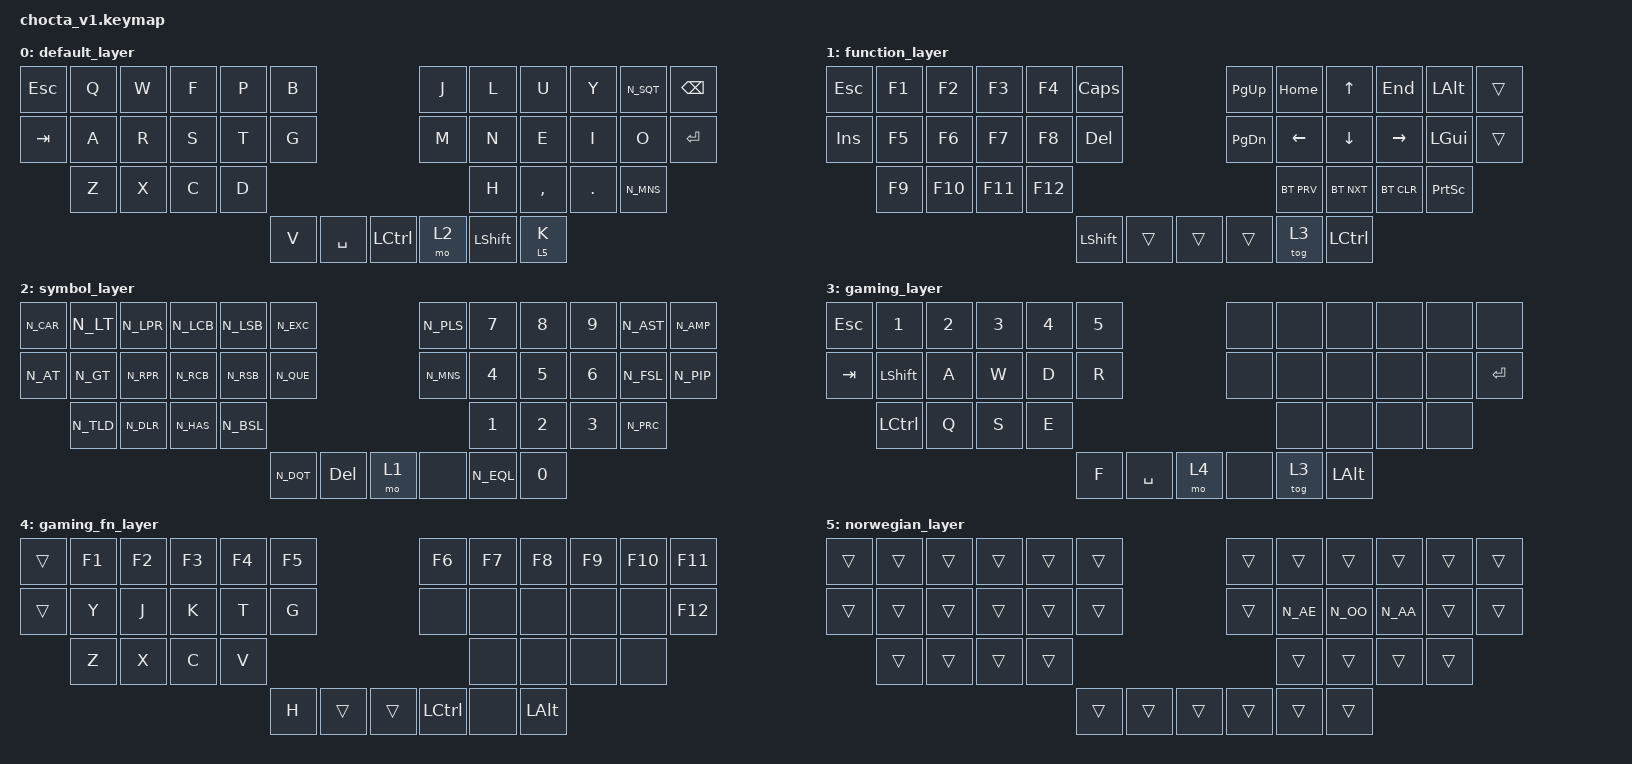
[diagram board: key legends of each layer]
/*
 * Copyright (c) 2020 The ZMK Contributors
 *
 * SPDX-License-Identifier: MIT
 */

#include <behaviors.dtsi>
#include <dt-bindings/zmk/keys.h>
#include <dt-bindings/zmk/bt.h>
#include "keymap_norwegian.h"

/ {
        keymap {
                compatible = "zmk,keymap";

                default_layer {
                        bindings = <
// ┌─────────┬─────────┬─────────┬─────────┬─────────┬─────────┐                                             ┌─────────┬─────────┬─────────┬─────────┬─────────┬─────────┐ 0
// │  ESCAPE │  Q      │  W      │  F      │  P      │  B      │                                             │  J      │  L      │  U      │  Y      │  '      │BACKSPACE│
    &kp ESC   &kp Q     &kp W     &kp F     &kp P     &kp B                                                   &kp J     &kp L     &kp U     &kp Y     &kp N_SQT &kp BSPC
// ├─────────┼─────────┼─────────┼─────────┼─────────┼─────────┤                                             ├─────────┼─────────┼─────────┼─────────┼─────────┼─────────┤
// │  TAB    │  A      │  R      │  S      │  T      │  G      │                                             │  M      │  N      │  E      │  I      │  O      │  ENTER  │
    &kp TAB   &kp A     &kp R     &kp S     &kp T     &kp G                                                   &kp M     &kp N     &kp E     &kp I     &kp O     &kp RET
// └─────────┼─────────┼─────────┼─────────┼─────────┼─────────┘                                             └─────────┼─────────┼─────────┼─────────┼─────────┼─────────┘
//           │  Z      │  X      │  C      │  D      │                                                                 │  H      │  ,      │  .      │  -      │
              &kp Z     &kp X     &kp C     &kp D                                                                       &kp H     &kp COMMA &kp DOT   &kp N_MNS
//           └─────────┴─────────┴─────────┴─────────┘┌─────────┬─────────┬─────────┐   ┌─────────┬─────────┬─────────┐└─────────┴─────────┴─────────┴─────────┘
//                                                    │  V      │  SPACE  │  CTRL   │   │  SYMBOL │  SHIFT  │  K      │
                                                       &kp V     &kp SPACE &kp LCTRL     &mo 2     &kp LSHFT &lt 5 K
//                                                    └─────────┴─────────┴─────────┘   └─────────┴─────────┴─────────┘
                        >;
                };
				
                function_layer {
                        bindings = <
// ┌─────────┬─────────┬─────────┬─────────┬─────────┬─────────┐                                             ┌─────────┬─────────┬─────────┬─────────┬─────────┬─────────┐ 1
// │  ESCAPE │  F1     │  F2     │  F3     │  F4     │  CAPS   │                                             │ PAGE UP │  HOME   │  ↑      │  END    │  ALT    │         │
    &kp ESC   &kp F1    &kp F2    &kp F3    &kp F4    &kp CAPS                                                &kp PG_UP &kp HOME  &kp UP    &kp END   &kp LALT  &trans
// ├─────────┼─────────┼─────────┼─────────┼─────────┼─────────┤                                             ├─────────┼─────────┼─────────┼─────────┼─────────┼─────────┤
// │  INSERT │  F5     │  F6     │  F7     │  F8     │  DELETE │                                             │PAGE DOWN│  ←      │  ↓      │  →      │  GUI    │         │
    &kp INS   &kp F5    &kp F6    &kp F7    &kp F8    &kp DEL                                                 &kp PG_DN &kp LEFT  &kp DOWN  &kp RIGHT &kp LGUI  &trans
// └─────────┼─────────┼─────────┼─────────┼─────────┼─────────┘                                             └─────────┼─────────┼─────────┼─────────┼─────────┼─────────┘
//           │  F9     │  F10    │  F11    │  F12    │                                                                 │         │         │         │PRINTSCRN│
              &kp F9    &kp F10   &kp F11   &kp F12                                                                    &bt BT_PRV &bt BT_NXT &bt BT_CLR &kp PSCRN
//           └─────────┴─────────┴─────────┴─────────┘┌─────────┬─────────┬─────────┐   ┌─────────┬─────────┬─────────┐└─────────┴─────────┴─────────┴─────────┘
//                                                    │  SHIFT  │         │         │   │         │  GAME   │  CTRL   │
                                                       &kp LSHFT &trans    &trans        &trans    &tog 3    &kp LCTRL
//                                                    └─────────┴─────────┴─────────┘   └─────────┴─────────┴─────────┘
                        >;
                };
				
				symbol_layer {
                        bindings = <
// ┌─────────┬─────────┬─────────┬─────────┬─────────┬─────────┐                                             ┌─────────┬─────────┬─────────┬─────────┬─────────┬─────────┐ 2
// │  ^      │  <      │  (      │  {      │  [      │  !      │                                             │  +      │  7      │  8      │  9      │  *      │  &      │
    &kp N_CAR &kp N_LT  &kp N_LPR &kp N_LCB &kp N_LSB &kp N_EXC                                               &kp N_PLS &kp N7    &kp N8    &kp N9    &kp N_AST &kp N_AMP
// ├─────────┼─────────┼─────────┼─────────┼─────────┼─────────┤                                             ├─────────┼─────────┼─────────┼─────────┼─────────┼─────────┤
// │  @      │  >      │  )      │  }      │  ]      │  ?      │                                             │  -      │  4      │  5      │  6      │  /      │  |      │
    &kp N_AT  &kp N_GT  &kp N_RPR &kp N_RCB &kp N_RSB &kp N_QUE                                               &kp N_MNS &kp N4    &kp N5    &kp N6    &kp N_FSL &kp N_PIP
// └─────────┼─────────┼─────────┼─────────┼─────────┼─────────┘                                             └─────────┼─────────┼─────────┼─────────┼─────────┼─────────┘
//           │  ~      │  $      │  #      │BACKSLASH│                                                                 │  1      │  2      │  3      │  %      │
              &kp N_TLD &kp N_DLR &kp N_HAS &kp N_BSL                                                                   &kp N1    &kp N2    &kp N3    &kp N_PRC
//           └─────────┴─────────┴─────────┴─────────┘┌─────────┬─────────┬─────────┐   ┌─────────┬─────────┬─────────┐└─────────┴─────────┴─────────┴─────────┘
//                                                    │  "      │  DELETE │   FUNC  │   │         │  =      │  0      │
                                                       &kp N_DQT &kp DEL   &mo 1         &none     &kp N_EQL &kp N0
//                                                    └─────────┴─────────┴─────────┘   └─────────┴─────────┴─────────┘
                        >;
                };
				
				gaming_layer {
                        bindings = <
// ┌─────────┬─────────┬─────────┬─────────┬─────────┬─────────┐                                             ┌─────────┬─────────┬─────────┬─────────┬─────────┬─────────┐ 3
// │  ESC    │  1      │  2      │  3      │  4      │  5      │                                             │         │         │         │         │         │         │
    &kp ESC   &kp N1    &kp N2    &kp N3    &kp N4    &kp N5                                                  &none     &none     &none     &none     &none     &none
// ├─────────┼─────────┼─────────┼─────────┼─────────┼─────────┤                                             ├─────────┼─────────┼─────────┼─────────┼─────────┼─────────┤
// │  TAB    │  SHIFT  │  A      │  W      │  D      │  R      │                                             │         │         │         │         │         │  ENTER  │
    &kp TAB   &kp LSHFT &kp A     &kp W     &kp D     &kp R                                                   &none     &none     &none     &none     &none     &kp RET
// └─────────┼─────────┼─────────┼─────────┼─────────┼─────────┘                                             └─────────┼─────────┼─────────┼─────────┼─────────┼─────────┘
//           │  CTRL   │  Q      │  S      │  E      │                                                                 │         │         │         │         │
              &kp LCTRL &kp Q     &kp S     &kp E                                                                       &none     &none     &none     &none
//           └─────────┴─────────┴─────────┴─────────┘┌─────────┬─────────┬─────────┐   ┌─────────┬─────────┬─────────┐└─────────┴─────────┴─────────┴─────────┘
//                                                    │  F      │  SPACE  │  Fn     │   │         │  GAME   │         │
                                                       &kp F     &kp SPACE &mo 4         &none     &tog 3    &kp LALT
//                                                    └─────────┴─────────┴─────────┘   └─────────┴─────────┴─────────┘
                        >;
                };
				
				gaming_fn_layer {
                        bindings = <
// ┌─────────┬─────────┬─────────┬─────────┬─────────┬─────────┐                                             ┌─────────┬─────────┬─────────┬─────────┬─────────┬─────────┐ 4
// │         │  F1     │  F2     │  F3     │  F4     │  F5     │                                             │  F6     │  F7     │  F8     │  F9     │  F10    │  F11    │
    &trans    &kp F1    &kp F2    &kp F3    &kp F4    &kp F5                                                  &kp F6    &kp F7    &kp F8    &kp F9    &kp F10   &kp F11
// ├─────────┼─────────┼─────────┼─────────┼─────────┼─────────┤                                             ├─────────┼─────────┼─────────┼─────────┼─────────┼─────────┤
// │         │         │         │         │         │         │                                             │         │         │         │         │         │  F12    │
    &trans    &kp Y     &kp J     &kp K     &kp T     &kp G                                                   &none     &none     &none     &none     &none     &kp F12
// └─────────┼─────────┼─────────┼─────────┼─────────┼─────────┘                                             └─────────┼─────────┼─────────┼─────────┼─────────┼─────────┘
//           │         │         │         │         │                                                                 │         │         │         │         │
              &kp Z     &kp X     &kp C     &kp V                                                                       &none     &none     &none     &none
//           └─────────┴─────────┴─────────┴─────────┘┌─────────┬─────────┬─────────┐   ┌─────────┬─────────┬─────────┐└─────────┴─────────┴─────────┴─────────┘
//                                                    │         │         │         │   │         │         │         │
                                                       &kp H     &trans    &trans        &kp LCTRL &none     &kp LALT
//                                                    └─────────┴─────────┴─────────┘   └─────────┴─────────┴─────────┘
                        >;
                };
				
				norwegian_layer {
                        bindings = <
// ┌─────────┬─────────┬─────────┬─────────┬─────────┬─────────┐                                             ┌─────────┬─────────┬─────────┬─────────┬─────────┬─────────┐ 5
// │         │         │         │         │         │         │                                             │         │         │         │         │         │         │
    &trans    &trans    &trans    &trans    &trans    &trans                                                  &trans    &trans    &trans    &trans    &trans    &trans
// ├─────────┼─────────┼─────────┼─────────┼─────────┼─────────┤                                             ├─────────┼─────────┼─────────┼─────────┼─────────┼─────────┤
// │         │         │         │         │         │         │                                             │         │  Æ      │  Ø      │  Å      │         │         │
    &trans    &trans    &trans    &trans    &trans    &trans                                                  &trans    &kp N_AE  &kp N_OO  &kp N_AA  &trans    &trans
// └─────────┼─────────┼─────────┼─────────┼─────────┼─────────┘                                             └─────────┼─────────┼─────────┼─────────┼─────────┼─────────┘
//           │         │         │         │         │                                                                 │         │         │         │         │
              &trans    &trans    &trans    &trans                                                                      &trans    &trans    &trans    &trans
//           └─────────┴─────────┴─────────┴─────────┘┌─────────┬─────────┬─────────┐   ┌─────────┬─────────┬─────────┐└─────────┴─────────┴─────────┴─────────┘
//                                                    │         │         │         │   │         │         │         │
                                                       &trans    &trans    &trans        &trans    &trans    &trans
//                                                    └─────────┴─────────┴─────────┘   └─────────┴─────────┴─────────┘
                        >;
                };
        };
};
